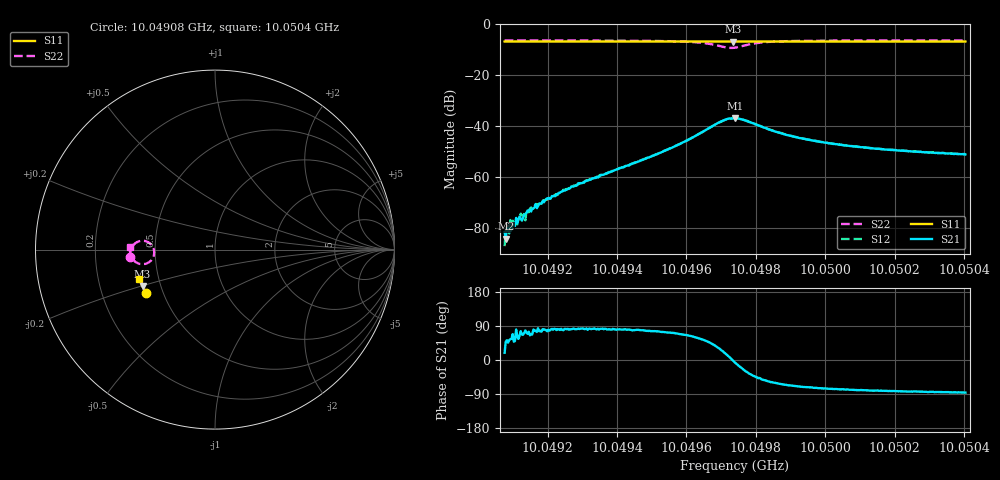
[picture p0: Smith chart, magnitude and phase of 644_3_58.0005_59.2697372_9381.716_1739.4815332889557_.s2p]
#  HZ  S  RI  R  50.00
! Rohde & Schwarz Vector Network Analyzer
! Rohde-Schwarz,ZNB20-2Port,1311601062101988,3.16
! Created: UTC 3/21/2024, 1:19:11 AM
! freq[Hz]  re:S11  im:S11  re:S21  im:S21  re:S12  im:S12  re:S22  im:S22
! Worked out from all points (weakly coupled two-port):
!   401 points, 10.04908 GHz to 10.0504 GHz, reference 50 ohm
!   highest |S21| = -36.99 dB at 10.04974 GHz (marker M1); lowest = -84.3 dB at 10.04908 GHz (marker M2)
!   lowest |S11| = -6.9 dB at 10.04973 GHz (marker M3), VSWR 2.65, Z = 19.8 - j10.1 ohm
!   |S11| at or under -10 dB: nowhere
!   |S22| runs from -9.4 to -6.5 dB; largest |S21 - S12| = 0.0011
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1.0049076e10  -0.3852 -0.2418  7.7e-05 2.69e-05  3.87e-05 2.02e-05  -0.4735 -0.0437
1.0049079e10  -0.3853 -0.2416  4.05e-05 4.55e-05  7.56e-05 5.31e-05  -0.4736 -0.0434
1.0049099e10  -0.386 -0.2403  4.11e-05 0.000104  8.34e-05 0.000109  -0.4735 -0.0416
1.0049109e10  -0.3863 -0.2399  2.61e-05 0.000154  3.38e-05 0.000117  -0.4735 -0.0408
1.0049126e10  -0.387 -0.2388  5.37e-05 0.000127  7.48e-05 0.000157  -0.4736 -0.0392
1.0049129e10  -0.3871 -0.2386  6.19e-05 0.000144  7.17e-05 0.000156  -0.4735 -0.039
1.0049142e10  -0.3874 -0.2379  7.77e-05 0.000205  1.76e-05 0.000202  -0.4736 -0.0377
1.0049146e10  -0.3876 -0.2377  5.85e-05 0.000212  5.14e-05 0.000196  -0.4735 -0.0375
1.0049189e10  -0.389 -0.2352  5.04e-05 0.000312  4.83e-05 0.000343  -0.4734 -0.0335
1.0049299e10  -0.3926 -0.2288  9.28e-05 0.000744  5.42e-05 0.000767  -0.4728 -0.0223
1.0049521e10  -0.3993 -0.2156  0.000737 0.00281  0.000581 0.00286  -0.4642 0.0113
1.0049597e10  -0.4015 -0.2108  0.00203 0.00459  0.00176 0.0047  -0.4489 0.0315
1.0049674e10  -0.4032 -0.2062  0.00719 0.00664  0.00675 0.00705  -0.3966 0.0488
1.004971e10  -0.4034 -0.204  0.0124 0.00427  0.012 0.00505  -0.3501 0.0209
1.0049734e10  -0.4038 -0.2032  0.0141 -0.000235  0.0141 0.000795  -0.339 -0.0225
1.004974e10  -0.4042 -0.2029  0.014 -0.0017  0.0142 -0.000584  -0.3415 -0.0354
1.0049773e10  -0.4054 -0.2016  0.0107 -0.00642  0.0113 -0.0058  -0.3798 -0.0767
1.0049823e10  -0.4071 -0.1989  0.00556 -0.00737  0.00613 -0.00705  -0.4312 -0.0755
1.0049883e10  -0.4091 -0.1951  0.00287 -0.00622  0.00334 -0.00606  -0.4561 -0.0565
1.0049963e10  -0.4115 -0.1902  0.00156 -0.00492  0.00184 -0.00491  -0.4677 -0.037
1.0050185e10  -0.4171 -0.1768  0.000497 -0.00337  0.000674 -0.00335  -0.4747 -0.00546
1.0050404e10  -0.4221 -0.1632  0.00019 -0.00275  0.000326 -0.00275  -0.4753 0.0151
